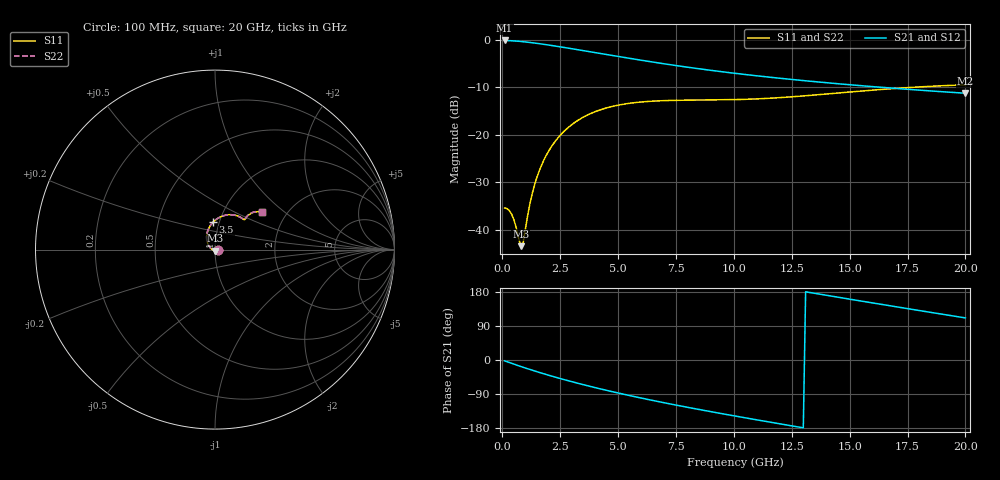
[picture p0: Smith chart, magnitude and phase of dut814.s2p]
! Touchstone file exported from HFSS 2024.1.0
!  File:  C:/UserFiles/LocalFiles/RDL_TSV_Batchsim/temp_RDL_TSV_814_1779913806.aedt
!  Generated:  04:47:32 AM May 28, 2026
!  Design:  RDL_TSV
!  Project:  temp_RDL_TSV_814_1779913806
!  Setup:  Setup1
!  Solution:  Sweep
! Variables:
!  dtsv = 11.08um
!  hbump = 3um
!  htsv = 99.07um
!  ldown = 624.18um
!  lrdl = 368.4um
!  p = 40
!  p1 = 46.22um
!  rhole = 10um
!  subl = 3346.14um
!  t = 450um
!  tdown = 4.14um
!  trdl = 3.24um
!  viad = 10um
!  wdown = 23.89um
!  wrdl = 15.73um
!  xbump = 18um
# GHz S MA R 50.000000
! Terminal data exported
! Port[1] = TM1_1_T1
! Port[2] = TM1_4_T1
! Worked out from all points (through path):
!   200 points, 100 MHz to 20 GHz, reference 50 ohm
!   highest |S21| = -0.16 dB at 100 MHz (marker M1); lowest = -11.3 dB at 20 GHz (marker M2)
!   group delay of S21, straight-line fit = 32.7 ps
!   lowest |S11| = -43.5 dB at 800 MHz (marker M3), VSWR 1.01, Z = 50 - j0.666 ohm
!   |S11| at or under -10 dB: start of sweep to 17.85 GHz
!   |S22| runs from -43.2 to -9.5 dB; largest |S21 - S12| = 4e-14
!   S11 on the Smith chart (normalised r, x): 100 MHz: 1.03, -0.00; 3.5 GHz: 0.93, +0.29; 20 GHz: 1.51, +0.71
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0.1  0.01685 -3.4  0.9813 -2.2  0.9813 -2.2  0.01683 -3.6
! Gamma 0 0 0 0
! Port Impedance 50 0 50 0
0.4  0.01457 -21.3  0.9741 -8.7  0.9741 -8.7  0.01455 -21.8
0.6  0.01048 -42.9  0.9668 -12.9  0.9668 -12.9  0.01053 -43.9
0.8  0.006676 -93.0  0.9576 -17.1  0.9576 -17.1  0.006881 -94.0
0.9  0.007256 -131.9  0.9524 -19.1  0.9524 -19.1  0.007518 -131.7
1.1  0.01423 -177.1  0.9409 -23.2  0.9409 -23.2  0.01444 -176.3
1.3  0.02432 163.8  0.9282 -27.1  0.9282 -27.1  0.02449 164.5
1.5  0.03573 152.0  0.9147 -30.9  0.9147 -30.9  0.03587 152.5
1.8  0.05414 139.0  0.8932 -36.5  0.8932 -36.5  0.05425 139.4
2.1  0.07317 128.6  0.871 -41.9  0.871 -41.9  0.07325 128.9
2.5  0.09821 116.9  0.8409 -48.9  0.8409 -48.9  0.09824 117.2
3  0.1273 104.6  0.8035 -57.2  0.8035 -57.2  0.1273 104.8
3.5  0.1527 94.2  0.767 -65.1  0.767 -65.1  0.1526 94.4
4.2  0.1812 82.1  0.718 -75.7  0.718 -75.7  0.181 82.2
5.1  0.2062 69.9  0.6597 -88.5  0.6597 -88.5  0.2059 70.0
6.8  0.2271 54.8  0.5661 -110.5  0.5661 -110.5  0.2265 54.9
8.4  0.2309 47.8  0.4973 -129.5  0.4973 -129.5  0.2302 47.9
10.1  0.2337 45.4  0.4406 -148.4  0.4406 -148.4  0.2329 45.6
11.7  0.2426 45.6  0.3987 -165.5  0.3987 -165.5  0.242 45.8
13.4  0.2601 45.9  0.3629 176.9  0.3629 176.9  0.2597 46.2
16.7  0.3031 43.5  0.3103 143.5  0.3103 143.5  0.3032 43.8
20  0.3346 38.4  0.2729 111.1  0.2729 111.1  0.3352 38.6
